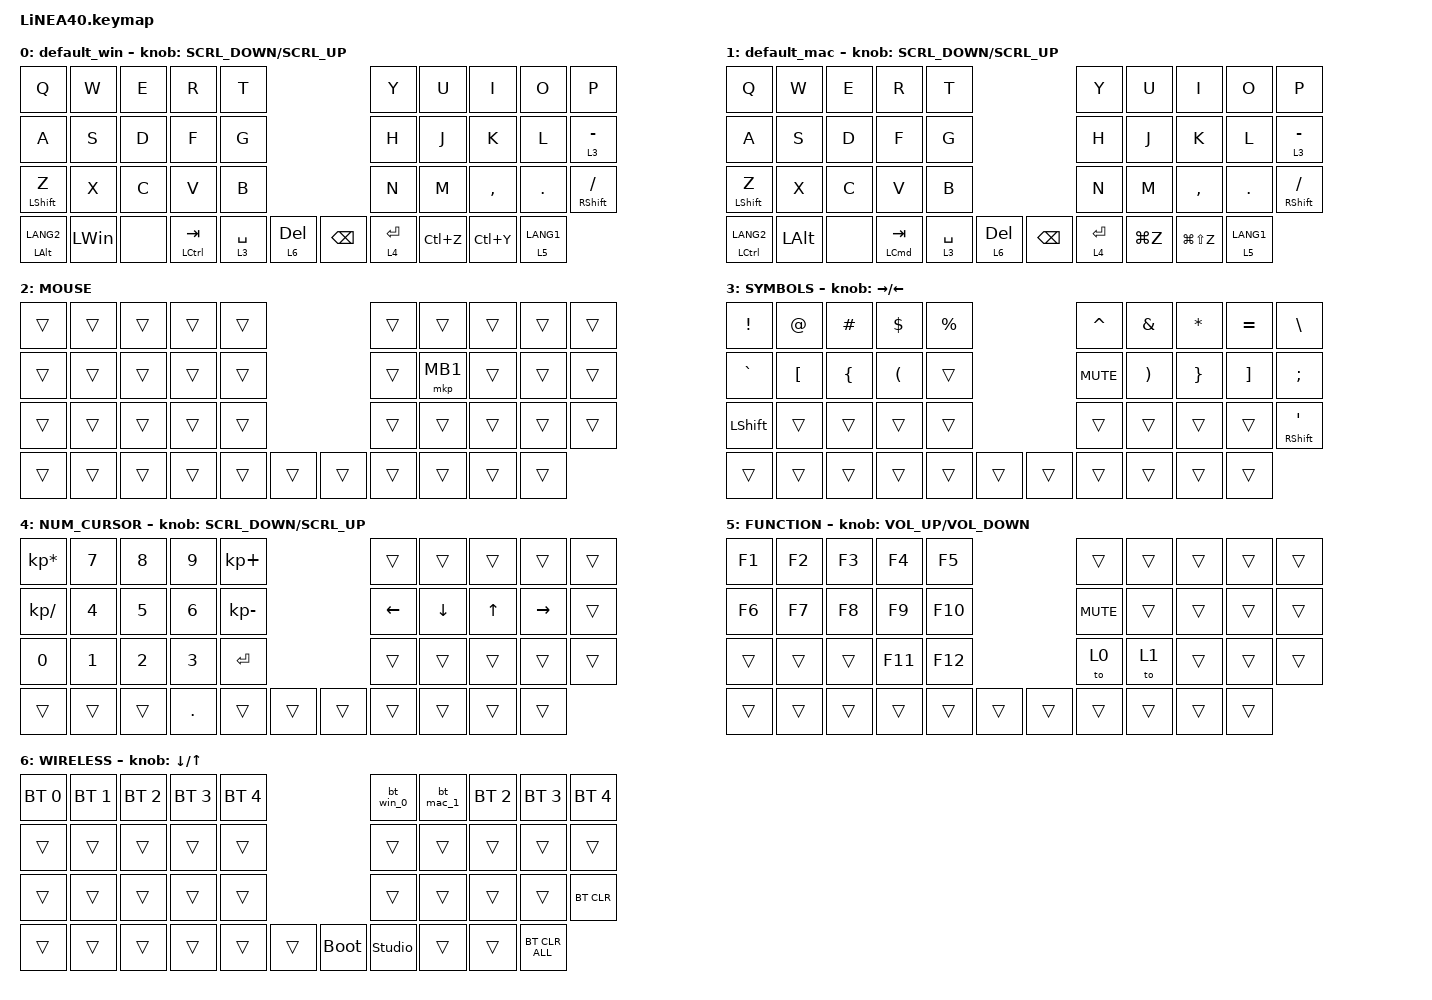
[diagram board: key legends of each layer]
#define ZMK_POINTING_DEFAULT_SCRL_VAL 150

#include <dt-bindings/zmk/input_transform.h>
#include <input/processors.dtsi>
#include <zephyr/dt-bindings/input/input-event-codes.h>
#include <behaviors.dtsi>
#include <dt-bindings/zmk/bt.h>
#include <dt-bindings/zmk/keys.h>
#include <dt-bindings/zmk/pointing.h>

// ZキーなどのMod-Tapは、後続キーを押していても短押しならタップとして扱う。
// これにより「zo」が「ZO」になる誤判定を避ける。

&mt { flavor = "tap-preferred"; };

#define MOUSE 2
#define SYMBOLS 3
#define NUM_CURSOR 4
#define FUNCTION 5
#define WIRELESS 6

//mouse cursol

&mmv {
    delay-ms = <20>;
    trigger-period-ms = <5>;
    time-to-max-speed-ms = <100>;
    acceleration-exponent = <2>;
};

//mouse scroll

&msc {
    delay-ms = <3>;
    trigger-period-ms = <3>;
    time-to-max-speed-ms = <100>;
    acceleration-exponent = <0>;
};

/ {
    input_processors {
        zip_wheel_scaler: zip_wheel_scaler {
            compatible = "zmk,input-processor-scaler";
            #input-processor-cells = <2>;
            type = <INPUT_EV_REL>;
            codes = <INPUT_REL_WHEEL>;
            track-remainders;
        };
    };
};

&msc_input_listener {
    speed_up {
        layers = <NUM_CURSOR>;
        input-processors = <&zip_wheel_scaler 3 1>; //スクロールを3倍速にする
    };
};

&trackball_listener {
    scroller {
        layers = <SYMBOLS>;
        input-processors =
            <&zip_xy_transform INPUT_TRANSFORM_Y_INVERT>,
            //スクロール方向を逆転,,,,,,,,,
            <&zip_xy_to_scroll_mapper>;
    };
};

/ {
    combos {
        compatible = "zmk,combos";

        CenterClick {
            bindings = <&mkp MB3>;
            key-positions = <17 16>;
        };

        RightClick {
            bindings = <&mkp MB2>;
            key-positions = <18 17>;
        };

        PrevClick {
            bindings = <&mkp MB4>;
            key-positions = <27 26>;
        };

        ClickNext {
            bindings = <&mkp MB5>;
            key-positions = <27 28>;
        };

        escape {
            bindings = <&kp ESCAPE>;
            key-positions = <0 1>;
        };
    };

    behaviors {
        re_kp: sensor_rotate_kp {
            compatible = "zmk,behavior-sensor-rotate-var";
            #sensor-binding-cells = <2>;
            bindings = <&kp>, <&kp>;
        };

        mouse_scrl: mouse_wheel_scrl {
            compatible = "zmk,behavior-sensor-rotate-var";
            #sensor-binding-cells = <2>;
            bindings = <&msc>, <&msc>;

            tap-ms = <20>;
        };

        del_layer: delete_layer {
            compatible = "zmk,behavior-hold-tap";
            #binding-cells = <2>;
            flavor = "tap-preferred";
            tapping-term-ms = <200>;
            quick-tap-ms = <250>;
            bindings = <&mo>, <&kp>;
        };
    };

    macros {
        bt_win_0: bt_win_0 {
            compatible = "zmk,behavior-macro";
            #binding-cells = <0>;
            bindings = <&bt BT_SEL 0 &to 0>;
            label = "BT_WIN_0";
        };

        bt_mac_1: bt_mac_1 {
            compatible = "zmk,behavior-macro";
            #binding-cells = <0>;
            bindings = <&bt BT_SEL 1 &to 1>;
            label = "BT_MAC_1";
        };
    };

    keymap {
        compatible = "zmk,keymap";

        default_win {
            bindings = <
&kp Q             &kp W         &kp E  &kp R                 &kp T                                    &kp Y        &kp U  &kp I      &kp O      &kp P
&kp A             &kp S         &kp D  &kp F                 &kp G                                    &kp H        &kp J  &kp K      &kp L      &lt 3 MINUS
&mt LEFT_SHIFT Z  &kp X         &kp C  &kp V                 &kp B                                    &kp N        &kp M  &kp COMMA  &kp DOT    &mt RIGHT_SHIFT SLASH
&mt LALT LANG2    &kp LEFT_WIN  &none  &mt LEFT_CONTROL TAB  &lt 3 SPACE  &del_layer 6 DEL  &kp BACKSPACE  &lt 4 ENTER         &kp LC(Z)  &kp LC(Y)  &lt 5 LANG1
            >;

            sensor-bindings = <&mouse_scrl SCRL_DOWN SCRL_UP>;
        };

        default_mac {
            bindings = <
&kp Q             &kp W         &kp E  &kp R                 &kp T                                    &kp Y        &kp U  &kp I      &kp O          &kp P
&kp A             &kp S         &kp D  &kp F                 &kp G                                    &kp H        &kp J  &kp K      &kp L          &lt 3 MINUS
&mt LEFT_SHIFT Z  &kp X         &kp C  &kp V                 &kp B                                    &kp N        &kp M  &kp COMMA  &kp DOT        &mt RIGHT_SHIFT SLASH
&mt LCTRL LANG2   &kp LEFT_ALT  &none  &mt LEFT_COMMAND TAB  &lt 3 SPACE  &del_layer 6 DEL  &kp BACKSPACE  &lt 4 ENTER         &kp LG(Z)  &kp LG(LS(Z))  &lt 5 LANG1
            >;

            sensor-bindings = <&mouse_scrl SCRL_DOWN SCRL_UP>;
        };

        MOUSE {
            bindings = <
&trans  &trans  &trans  &trans  &trans                    &trans  &trans    &trans  &trans  &trans
&trans  &trans  &trans  &trans  &trans                    &trans  &mkp MB1  &trans  &trans  &trans
&trans  &trans  &trans  &trans  &trans                    &trans  &trans    &trans  &trans  &trans
&trans  &trans  &trans  &trans  &trans  &trans    &trans  &trans            &trans  &trans  &trans
            >;
        };

        SYMBOLS {
            bindings = <
&kp EXCLAMATION  &kp AT            &kp HASH        &kp DOLLAR            &kp PERCENT                    &kp CARET   &kp AMPERSAND          &kp ASTERISK     &kp EQUAL          &kp BACKSLASH
&kp GRAVE        &kp LEFT_BRACKET  &kp LEFT_BRACE  &kp LEFT_PARENTHESIS  &trans                         &kp C_MUTE  &kp RIGHT_PARENTHESIS  &kp RIGHT_BRACE  &kp RIGHT_BRACKET  &kp SEMICOLON
&kp LEFT_SHIFT   &trans            &trans          &trans                &trans                         &trans      &trans                 &trans           &trans             &mt RIGHT_SHIFT APOSTROPHE
&trans           &trans            &trans          &trans                &trans       &trans    &trans  &trans                             &trans           &trans             &trans
            >;

            sensor-bindings = <&inc_dec_kp RIGHT_ARROW LEFT_ARROW>;
        };

        NUM_CURSOR {
            bindings = <
&kp KP_MULTIPLY  &kp N7  &kp N8  &kp N9      &kp KP_PLUS                     &trans          &trans    &trans        &trans           &trans
&kp KP_SLASH     &kp N4  &kp N5  &kp N6      &kp KP_MINUS                    &kp LEFT_ARROW  &kp DOWN  &kp UP_ARROW  &kp RIGHT_ARROW  &trans
&kp N0           &kp N1  &kp N2  &kp N3      &kp ENTER                       &trans          &trans    &trans        &trans           &trans
&trans           &trans  &trans  &kp PERIOD  &trans        &trans    &trans  &trans                    &trans        &trans           &trans
            >;

            sensor-bindings = <&mouse_scrl SCRL_DOWN SCRL_UP>;
        };

        FUNCTION {
            bindings = <
&kp F1  &kp F2  &kp F3  &kp F4   &kp F5                     &trans      &trans  &trans  &trans  &trans
&kp F6  &kp F7  &kp F8  &kp F9   &kp F10                    &kp C_MUTE  &trans  &trans  &trans  &trans
&trans  &trans  &trans  &kp F11  &kp F12                    &to 0       &to 1   &trans  &trans  &trans
&trans  &trans  &trans  &trans   &trans   &trans    &trans  &trans              &trans  &trans  &trans
            >;

            sensor-bindings = <&re_kp C_VOLUME_UP C_VOLUME_DOWN>;
        };

        WIRELESS {
            bindings = <
&bt BT_SEL 0  &bt BT_SEL 1  &bt BT_SEL 2  &bt BT_SEL 3  &bt BT_SEL 4                         &bt_win_0       &bt_mac_1  &bt BT_SEL 2  &bt BT_SEL 3  &bt BT_SEL 4
&trans        &trans        &trans        &trans        &trans                               &trans          &trans     &trans        &trans        &trans
&trans        &trans        &trans        &trans        &trans                               &trans          &trans     &trans        &trans        &bt BT_CLR
&trans        &trans        &trans        &trans        &trans        &trans    &bootloader  &studio_unlock             &trans        &trans        &bt BT_CLR_ALL
            >;

            sensor-bindings = <&inc_dec_kp DOWN_ARROW UP_ARROW>;
        };
    };
};
